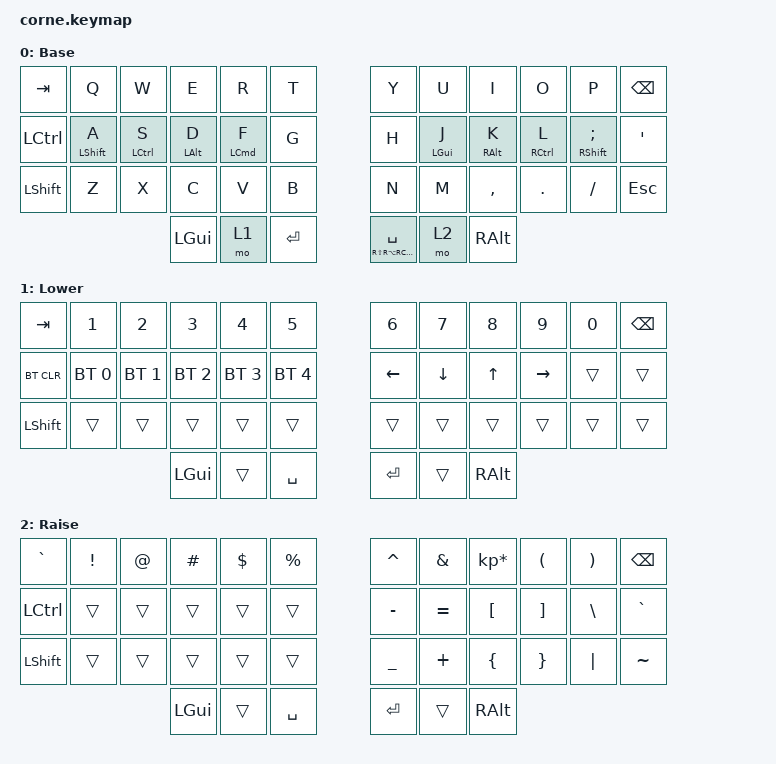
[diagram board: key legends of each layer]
/*
 * Copyright (c) 2020 The ZMK Contributors
 *
 * SPDX-License-Identifier: MIT
 */

#include <behaviors.dtsi>
#include <dt-bindings/zmk/bt.h>
#include <dt-bindings/zmk/keys.h>

/ {
    behaviors {
        HML: HML {
            compatible = "zmk,behavior-hold-tap";
            label = "HML";
            bindings = <&kp>, <&kp>;

            #binding-cells = <2>;
            hold-trigger-on-release;
            flavor = "tap-preferred";
            tapping-term-ms = <200>;
            quick-tap-ms = <175>;
            hold-trigger-key-positions = <12 13 14 15 16 17>;
        };

        HMR: HMR {
            compatible = "zmk,behavior-hold-tap";
            label = "HMR";
            bindings = <&kp>, <&kp>;

            #binding-cells = <2>;
            hold-trigger-key-positions = <18 19 20 21 22 23>;
            hold-trigger-on-release;
            flavor = "tap-preferred";
            tapping-term-ms = <280>;
            quick-tap-ms = <175>;
        };

        RHYPER: RHYPER {
            compatible = "zmk,behavior-hold-tap";
            label = "RHYPER";
            bindings = <&kp>, <&kp>;

            #binding-cells = <2>;
            tapping-term-ms = <320>;
            hold-trigger-key-positions = <39>;
            quick-tap-ms = <190>;
        };
    };

    macros {
        hyper: hyper {
            compatible = "zmk,behavior-macro";
            #binding-cells = <0>;
            bindings = <&none>;
            label = "HYPER";
        };
    };

    keymap {
        compatible = "zmk,keymap";

        default_layer {
            // -----------------------------------------------------------------------------------------
            // |  TAB |  Q  |  W  |  E  |  R  |  T  |   |  Y  |  U   |  I  |  O  |  P  | BKSP |
            // | CTRL |  A  |  S  |  D  |  F  |  G  |   |  H  |  J   |  K  |  L  |  ;  |  '   |
            // | SHFT |  Z  |  X  |  C  |  V  |  B  |   |  N  |  M   |  ,  |  .  |  /  | ESC  |
            //                    | GUI | LWR | SPC |   | ENT | RSE  | ALT |

            display-name = "Base";
            bindings = <
&kp TAB    &kp Q         &kp W                &kp E        &kp R                &kp T         &kp Y                                    &kp U            &kp I        &kp O         &kp P            &kp BSPC
&kp LCTRL  &HML LSHFT A  &HML LEFT_CONTROL S  &HML LALT D  &HML LEFT_COMMAND F  &kp G         &kp H                                    &HMR LEFT_GUI J  &HMR RALT K  &HMR RCTRL L  &HMR RSHFT SEMI  &kp SQT
&kp LSHFT  &kp Z         &kp X                &kp C        &kp V                &kp B         &kp N                                    &kp M            &kp COMMA    &kp DOT       &kp FSLH         &kp ESC
                                              &kp LGUI     &mo 1                &kp RETURN    &RHYPER RS(RA(RC(RIGHT_COMMAND))) SPACE  &mo 2            &kp RALT
            >;
        };

        lower_layer {
            // -----------------------------------------------------------------------------------------
            // |  TAB |  1  |  2  |  3  |  4  |  5  |   |  6  |  7  |  8  |  9  |  0  | BKSP |
            // | BTCLR| BT1 | BT2 | BT3 | BT4 | BT5 |   | LFT | DWN |  UP | RGT |     |      |
            // | SHFT |     |     |     |     |     |   |     |     |     |     |     |      |
            //                    | GUI |     | SPC |   | ENT |     | ALT |

            display-name = "Lower";
            bindings = <
&kp TAB     &kp N1        &kp N2        &kp N3        &kp N4        &kp N5          &kp N6    &kp N7    &kp N8    &kp N9     &kp N0  &kp BSPC
&bt BT_CLR  &bt BT_SEL 0  &bt BT_SEL 1  &bt BT_SEL 2  &bt BT_SEL 3  &bt BT_SEL 4    &kp LEFT  &kp DOWN  &kp UP    &kp RIGHT  &trans  &trans
&kp LSHFT   &trans        &trans        &trans        &trans        &trans          &trans    &trans    &trans    &trans     &trans  &trans
                                        &kp LGUI      &trans        &kp SPACE       &kp RET   &trans    &kp RALT
            >;
        };

        raise_layer {
            // -----------------------------------------------------------------------------------------
            // |  TAB |  !  |  @  |  #  |  $  |  %  |   |  ^  |  &  |  *  |  (  |  )  | BKSP |
            // | CTRL |     |     |     |     |     |   |  -  |  =  |  [  |  ]  |  \  |  `   |
            // | SHFT |     |     |     |     |     |   |  _  |  +  |  {  |  }  | "|" |  ~   |
            //                    | GUI |     | SPC |   | ENT |     | ALT |

            display-name = "Raise";
            bindings = <
&kp GRAVE  &kp EXCL  &kp AT  &kp HASH  &kp DLLR  &kp PRCNT    &kp CARET  &kp AMPS   &kp KP_MULTIPLY  &kp LPAR  &kp RPAR  &kp BSPC
&kp LCTRL  &trans    &trans  &trans    &trans    &trans       &kp MINUS  &kp EQUAL  &kp LBKT         &kp RBKT  &kp BSLH  &kp GRAVE
&kp LSHFT  &trans    &trans  &trans    &trans    &trans       &kp UNDER  &kp PLUS   &kp LBRC         &kp RBRC  &kp PIPE  &kp TILDE
                             &kp LGUI  &trans    &kp SPACE    &kp RET    &trans     &kp RALT
            >;
        };

        extra_1 { status = "reserved"; };

        extra_2 { status = "reserved"; };

        extra_3 { status = "reserved"; };
    };
};
